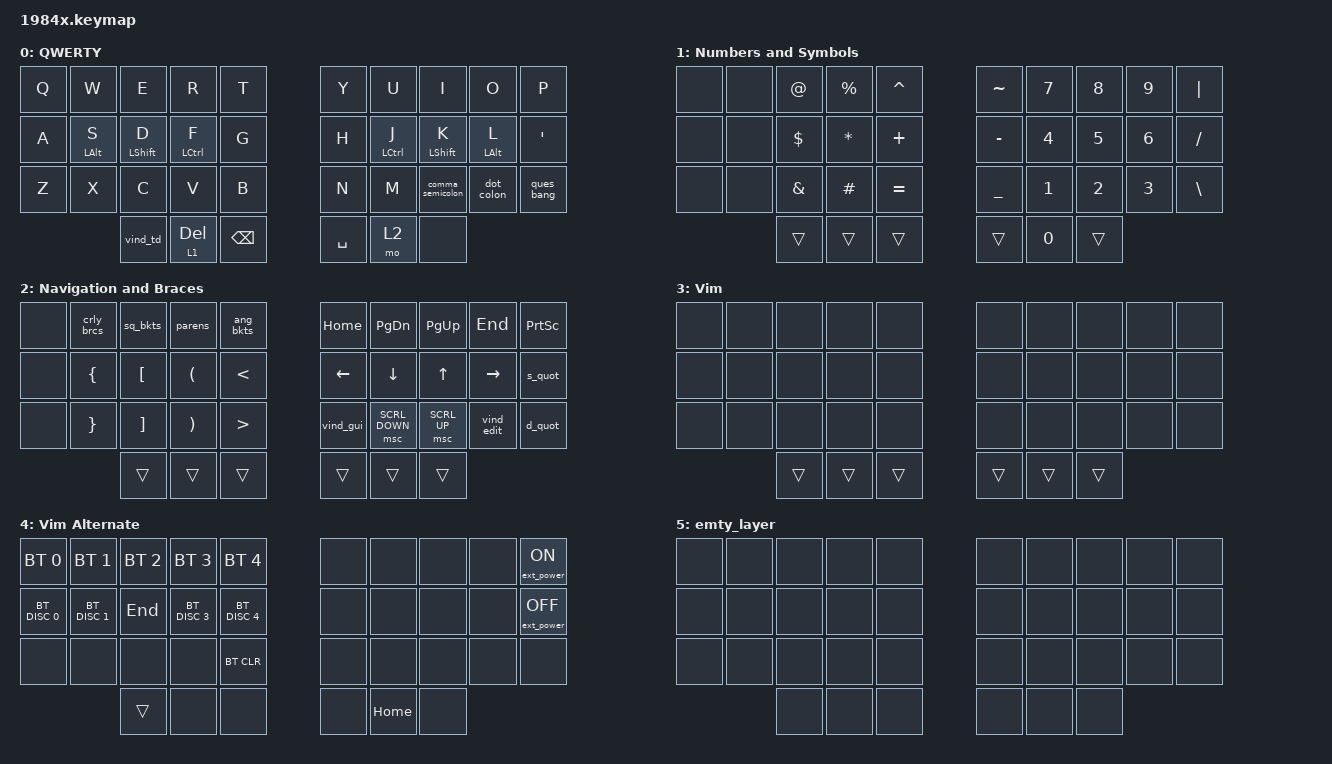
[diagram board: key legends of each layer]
/*
 * Copyright (c) 2020 The ZMK Contributors
 *
 * SPDX-License-Identifier: MIT
 */

#include <behaviors.dtsi>
#include <dt-bindings/zmk/bt.h>
#include <dt-bindings/zmk/ext_power.h>
#include <dt-bindings/zmk/keys.h>
#include <dt-bindings/zmk/pointing.h>

#define DEFAULT 0
#define NUM     1
#define NAV     2
#define APP     3
#define SYSTEM  4

&caps_word { continue-list = <UNDERSCORE MINUS BACKSPACE DELETE>; };

&mt { quick-tap-ms = <200>; };

#define str(x) #x
#define SPACE_NUM(num) \
  space_num_##num: space_num_##num { \
    compatible = "zmk,behavior-macro"; \
    \#binding-cells = <0>; \
    bindings = <&macro_tap &kp SPACE &kp N##num>; \
  };
#define TMUX_NUM(num) \
  tmux_num_##num: tmux_num_##num { \
    compatible = "zmk,behavior-macro"; \
    \#binding-cells = <0>; \
    bindings = <&macro_press &kp LCTRL> \
             , <&macro_tap &kp S> \
             , <&macro_release &kp LCTRL> \
             , <&macro_tap &kp N##num>; \
  };

/ {
    macros {
        SPACE_NUM(0)
    SPACE_NUM(1)
    SPACE_NUM(2)
    SPACE_NUM(3)
    SPACE_NUM(4)
    SPACE_NUM(5)
    SPACE_NUM(6)
    SPACE_NUM(7)
    SPACE_NUM(8)
    SPACE_NUM(9)

    TMUX_NUM(0)
    TMUX_NUM(1)
    TMUX_NUM(2)
    TMUX_NUM(3)
    TMUX_NUM(4)
    TMUX_NUM(5)
    TMUX_NUM(6)
    TMUX_NUM(7)
    TMUX_NUM(8)
    TMUX_NUM(9)

        parens: parens {
            compatible = "zmk,behavior-macro";
            #binding-cells = <0>;
            bindings = <&kp LEFT_PARENTHESIS &kp RIGHT_PARENTHESIS &kp LEFT>;
            label = "PARENS";
        };

        ang_bkts: ang_bkts {
            compatible = "zmk,behavior-macro";
            #binding-cells = <0>;
            bindings = <&kp LESS_THAN &kp GREATER_THAN &kp LEFT>;
            label = "ANG_BKTS";
        };

        sq_bkts: sq_bkts {
            compatible = "zmk,behavior-macro";
            #binding-cells = <0>;
            bindings = <&kp LEFT_BRACKET &kp RIGHT_BRACKET &kp LEFT>;
            label = "SQ_BKTS";
        };

        crly_brcs: crly_brcs {
            compatible = "zmk,behavior-macro";
            #binding-cells = <0>;
            bindings = <&kp LEFT_BRACE &kp RIGHT_BRACE &kp LEFT>;
            label = "CRLY_BRCS";
        };

        s_quot: s_quot {
            compatible = "zmk,behavior-macro";
            #binding-cells = <0>;
            bindings = <&kp SQT &kp SQT &kp LEFT>;
            label = "S_QUOT";
        };

        d_quot: d_quot {
            compatible = "zmk,behavior-macro";
            #binding-cells = <0>;
            bindings = <&kp DOUBLE_QUOTES &kp DOUBLE_QUOTES &kp LEFT>;
            label = "D_QUOT";
        };

        vind_gui: vind_gui {
            compatible = "zmk,behavior-macro";
            #binding-cells = <0>;
            bindings =
                <&macro_press>,
                <&kp ESCAPE &kp LEFT>,
                <&macro_release>,
                <&kp ESCAPE &kp LEFT>;

            label = "VIND_GUI";
        };

        vind_edit: vind_edit {
            compatible = "zmk,behavior-macro";
            #binding-cells = <0>;
            bindings =
                <&macro_press>,
                <&kp ESCAPE &kp RIGHT>,
                <&macro_release>,
                <&kp ESCAPE &kp RIGHT>;

            label = "VIND_EDIT";
        };

        vind_off: vind_off {
            compatible = "zmk,behavior-macro";
            #binding-cells = <0>;
            bindings =
                <&macro_press>,
                <&kp ESCAPE &kp DOWN>,
                <&macro_release>,
                <&kp ESCAPE &kp DOWN>;

            label = "VIND_OFF";
        };
    };

    conditional_layers { compatible = "zmk,conditional-layers"; };

    behaviors {
        vol_up: vol_up {
            compatible = "zmk,behavior-mod-morph";
            #binding-cells = <0>;
            bindings = <&kp C_VOL_UP>, <&kp C_BRI_UP>;

            mods = <(MOD_LGUI|MOD_LSFT|MOD_RGUI|MOD_RSFT|MOD_LALT|MOD_RALT)>;
        };

        vol_dn: vol_dn {
            compatible = "zmk,behavior-mod-morph";
            #binding-cells = <0>;
            bindings = <&kp C_VOL_DN>, <&kp C_BRI_DN>;

            mods = <(MOD_LGUI|MOD_LSFT|MOD_RGUI|MOD_RSFT|MOD_LALT|MOD_RALT)>;
        };

        hm: homerow_mods {
            compatible = "zmk,behavior-hold-tap";
            #binding-cells = <2>;
            tapping-term-ms = <250>;
            quick-tap-ms = <200>;
            flavor = "tap-preferred";
            bindings = <&kp>, <&kp>;
        };

        sftent: sftent {
            compatible = "zmk,behavior-hold-tap";
            #binding-cells = <2>;
            tapping-term-ms = <150>;
            quick-tap-ms = <75>;
            flavor = "hold-preferred";
            bindings = <&kp>, <&kp>;
        };

        hmt: homerow_mods_no_quicktap {
            compatible = "zmk,behavior-hold-tap";
            #binding-cells = <2>;
            tapping-term-ms = <200>;
            quick-tap-ms = <75>;
            require-prior-idle-ms = <50>;
            flavor = "hold-preferred";
            bindings = <&kp>, <&kp>;
        };

        lhp: layer_hold_prefered {
            compatible = "zmk,behavior-hold-tap";
            #binding-cells = <2>;
            tapping-term-ms = <150>;
            flavor = "hold-preferred";
            bindings = <&mo>, <&kp>;
        };

        nav_caps: nav_caps {
            compatible = "zmk,behavior-tap-dance";
            #binding-cells = <0>;
            tapping-term-ms = <200>;
            bindings = <&mo NAV>, <&caps_word>, <&kp CAPS>;
        };

        ques_bang: ques_bang {
            compatible = "zmk,behavior-mod-morph";
            label = "QUES_BANG";
            bindings = <&kp QUESTION>, <&kp EXCLAMATION>;

            #binding-cells = <0>;
            mods = <(MOD_LSFT)>;
        };

        comma_semicolon: comma_semicolon {
            compatible = "zmk,behavior-mod-morph";
            label = "COMMA_SEMICOLON";
            bindings = <&kp COMMA>, <&kp SEMI>;

            #binding-cells = <0>;
            mods = <(MOD_LSFT)>;
        };

        dot_colon: dot_colon {
            compatible = "zmk,behavior-mod-morph";
            label = "DOT_COLON";
            bindings = <&kp PERIOD>, <&kp COLON>;

            #binding-cells = <0>;
            mods = <(MOD_LSFT)>;
        };

        vind_td: vind_td {
            compatible = "zmk,behavior-tap-dance";
            label = "VIND_TD";
            #binding-cells = <0>;
            bindings = <&vind_off>, <&vind_edit>, <&vind_gui>;
        };
    };

    /*combos {
    compatible = "zmk,combos";

    #define COMBO(NAME, BINDINGS, KEYPOS, LAYERS) \
      combo_##NAME { \
        bindings = <BINDINGS>; \
        key-positions = <KEYPOS>; \
        layers = <LAYERS>; \
      };

    //  ╭─────────────────────╮          ╭─────────────────────╮
    //  │   0   1   2   3   4 │          │  5   6   7   8  10  │
    //  │  11  12  13  14  15 │          │ 15  16  17  18  19  │
    //  │  20  21  22  23  24 ╰───╮  ╭───╯ 25  26  27  28  29  │
    //  ╰────────────╮ 30  31  32 │  │ 33  34  35 ╭────────────╯
    //               ╰────────────╯  ╰────────────╯

    // COMBO(caps_word, &caps_word, 30 33, DEFAULT)
  };*/

    combos {
        compatible = "zmk,combos";

        capsword {
            bindings = <&caps_word>;
            key-positions = <12 17>;
        };

        clear_bt {
            bindings = <&bt BT_CLR_ALL>;
            key-positions = <0 20>;
        };

        tab {
            bindings = <&kp TAB>;
            key-positions = <13 12>;
        };

        enter {
            bindings = <&kp ENTER>;
            key-positions = <16 17>;
        };

        esc {
            bindings = <&kp ESCAPE>;
            key-positions = <11 12>;
        };

        gui {
            bindings = <&kp LEFT_GUI>;
            key-positions = <17 18>;
        };

        cut {
            bindings = <&kp LC(X)>;
            key-positions = <20 21>;
        };

        copy {
            bindings = <&kp LC(C)>;
            key-positions = <21 22>;
        };

        paste {
            bindings = <&kp LC(V)>;
            key-positions = <22 23>;
        };

        undo {
            bindings = <&kp LC(Z)>;
            key-positions = <3 2>;
        };

        redo1 {
            bindings = <&kp LC(LS(Z))>;
            key-positions = <1 2>;
        };

        redo2 {
            bindings = <&kp LC(R)>;
            key-positions = <0 1>;
        };

        grave {
            bindings = <&kp GRAVE>;
            key-positions = <23 12>;
        };

        capslock {
            bindings = <&kp CAPSLOCK>;
            key-positions = <18 11>;
        };
    };

    keymap {
        compatible = "zmk,keymap";

        default_layer {
            bindings = <
&kp Q  &kp W       &kp E        &kp R        &kp T          &kp Y      &kp U        &kp I             &kp O       &kp P
&kp A  &hm LALT S  &hm LSHFT D  &hm LCTRL F  &kp G          &kp H      &hm LCTRL J  &hm LSHFT K       &hm LALT L  &kp SQT
&kp Z  &kp X       &kp C        &kp V        &kp B          &kp N      &kp M        &comma_semicolon  &dot_colon  &ques_bang
                   &vind_td     &lt 1 DEL    &kp BACKSPACE  &kp SPACE  &mo 2        &none
            >;

            label = "QWERTY";
        };

        num_sym_layer {
            bindings = <
&none  &none  &kp AT_SIGN    &kp PERCENT   &kp CARET  &kp TILDE       &kp N7        &kp N8  &kp N9        &kp PIPE
&none  &none  &kp DOLLAR     &kp ASTERISK  &kp PLUS   &kp MINUS       &kp NUMBER_4  &kp N5  &kp NUMBER_6  &kp SLASH
&none  &none  &kp AMPERSAND  &kp HASH      &kp EQUAL  &kp UNDERSCORE  &kp N1        &kp N2  &kp N3        &kp BACKSLASH
              &trans         &trans        &trans     &trans          &kp NUMBER_0  &trans
            >;

            label = "Numbers and Symbols";
        };

        nav_layer {
            bindings = <
&none  &crly_brcs       &sq_bkts           &parens                &ang_bkts         &kp HOME   &kp PAGE_DOWN   &kp PG_UP     &kp END     &kp PRINTSCREEN
&none  &kp LEFT_BRACE   &kp LEFT_BRACKET   &kp LEFT_PARENTHESIS   &kp LESS_THAN     &kp LEFT   &kp DOWN        &kp UP        &kp RIGHT   &s_quot
&none  &kp RIGHT_BRACE  &kp RIGHT_BRACKET  &kp RIGHT_PARENTHESIS  &kp GREATER_THAN  &vind_gui  &msc SCRL_DOWN  &msc SCRL_UP  &vind_edit  &d_quot
                        &trans             &trans                 &trans            &trans     &trans          &trans
            >;

            label = "Navigation and Braces";
        };

        vim_layer {
            bindings = <
&none  &none  &none   &none   &none   &none   &none   &none   &none  &none
&none  &none  &none   &none   &none   &none   &none   &none   &none  &none
&none  &none  &none   &none   &none   &none   &none   &none   &none  &none
              &trans  &trans  &trans  &trans  &trans  &trans
            >;

            label = "Vim";
        };

        vim_alt {
            bindings = <
&bt BT_SEL 0   &bt BT_SEL 1   &bt BT_SEL 2  &bt BT_SEL 3   &bt BT_SEL 4   &none  &none     &none  &none  &ext_power EP_ON
&bt BT_DISC 0  &bt BT_DISC 1  &kp END       &bt BT_DISC 3  &bt BT_DISC 4  &none  &none     &none  &none  &ext_power EP_OFF
&none          &none          &none         &none          &bt BT_CLR     &none  &none     &none  &none  &none
                              &trans        &none          &none          &none  &kp HOME  &none
            >;

            label = "Vim Alternate";
        };

        emty_layer {
            bindings = <
&none  &none  &none  &none  &none  &none  &none  &none  &none  &none
&none  &none  &none  &none  &none  &none  &none  &none  &none  &none
&none  &none  &none  &none  &none  &none  &none  &none  &none  &none
              &none  &none  &none  &none  &none  &none
            >;
        };
    };
};
